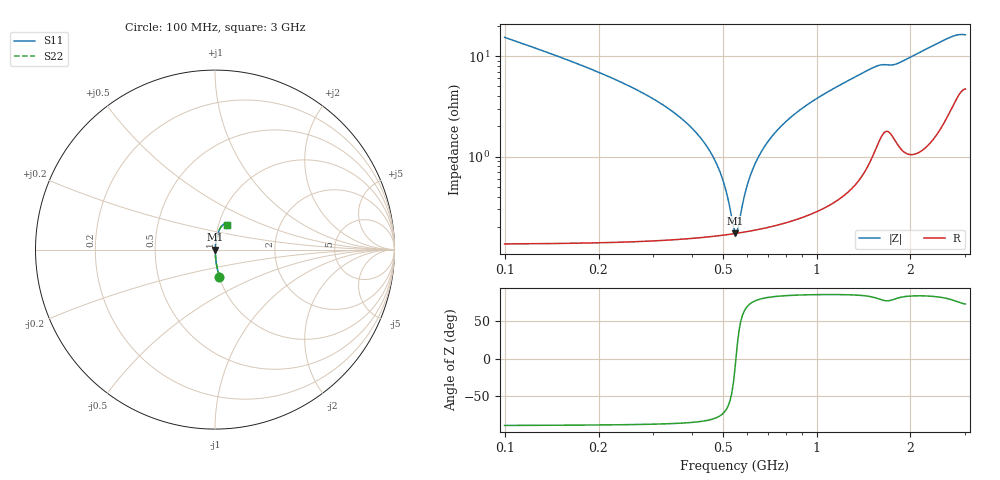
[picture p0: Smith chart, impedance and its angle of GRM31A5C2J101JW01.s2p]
!Murata Part Number: GRM31A5C2J101JW01
!These Parameters are Measured in Series Mode Connection
!Data Generated on Mar 30, 2021
!  o--ll--o
!Port1  Port2
!  o------o
!Operation Temp=25[degC], DC Bias Voltage=0[V]
!Freq. Start=100[MHz] Stop=3[GHz] 401[Steps]
# Hz S RI R 50
!Freq.(Hz) S11(Real) S11(Imag) S21(Real) S21(Imag) S12(Real) S12(Imag) S22(Real) S22(Imag)
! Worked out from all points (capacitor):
!   401 points, 100 MHz to 3 GHz, reference 50 ohm
!   read as one part in series: C = 99.9 pF near 114.5 MHz
!   lowest |Z| = 173 mohm at 549.5 MHz (marker M1)
!   series resonance near 551.5 MHz, so ESL is about 830 pH
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1e8  0.0244 -0.15  0.9756 0.15  0.9756 0.15  0.0244 -0.15
2.16e8  0.00526 -0.062  0.9947 0.062  0.9947 0.062  0.00526 -0.062
3.61e8  0.00213 -0.0252  0.9979 0.0252  0.9979 0.0252  0.00213 -0.0252
4.335e8  0.00177 -0.0141  0.9982 0.0141  0.9982 0.0141  0.00177 -0.0141
4.625e8  0.00171 -0.0102  0.9983 0.0102  0.9983 0.0102  0.00171 -0.0102
4.915e8  0.00168 -0.00669  0.9983 0.00669  0.9983 0.00669  0.00168 -0.00669
5.1325e8  0.00168 -0.00417  0.9983 0.00417  0.9983 0.00417  0.00168 -0.00417
5.35e8  0.0017 -0.00176  0.9983 0.00176  0.9983 0.00176  0.0017 -0.00176
5.495e8  0.00172 -0.000208  0.9983 0.000208  0.9983 0.000208  0.00172 -0.000208
5.64e8  0.00174 0.0013  0.9983 -0.0013  0.9983 -0.0013  0.00174 0.0013
5.8575e8  0.00178 0.00351  0.9982 -0.00351  0.9982 -0.00351  0.00178 0.00351
6.1475e8  0.00186 0.00633  0.9981 -0.00633  0.9981 -0.00633  0.00186 0.00633
6.4375e8  0.00195 0.00905  0.9981 -0.00905  0.9981 -0.00905  0.00195 0.00905
6.8e8  0.00209 0.0123  0.9979 -0.0123  0.9979 -0.0123  0.00209 0.0123
7.3075e8  0.00232 0.0167  0.9977 -0.0167  0.9977 -0.0167  0.00232 0.0167
8.685e8  0.00315 0.0277  0.9969 -0.0277  0.9969 -0.0277  0.00315 0.0277
1.0715e9  0.00495 0.0426  0.995 -0.0426  0.995 -0.0426  0.00495 0.0426
1.55e9  0.0177 0.076  0.9823 -0.076  0.9823 -0.076  0.0177 0.076
1.782e9  0.0207 0.0787  0.9793 -0.0787  0.9793 -0.0787  0.0207 0.0787
2.03575e9  0.02 0.0971  0.98 -0.0971  0.98 -0.0971  0.02 0.0971
2.5215e9  0.0375 0.1318  0.9625 -0.1318  0.9625 -0.1318  0.0375 0.1318
3e9  0.066 0.1396  0.934 -0.1396  0.934 -0.1396  0.066 0.1396
